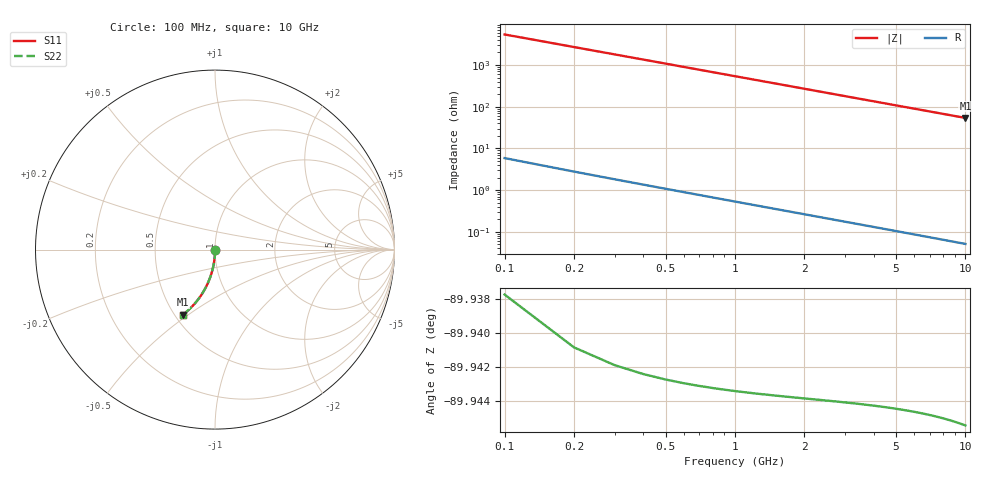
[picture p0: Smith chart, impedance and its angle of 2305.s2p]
# Hz S RI R 50.00
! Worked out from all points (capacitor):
!   100 points, 100 MHz to 10 GHz, reference 50 ohm
!   read as one part in shunt: C = 295 fF near 100 MHz
!   lowest |Z| = 54 ohm at 10 GHz (marker M1)
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1e8  3.91e-05 -0.00443  0.9999 -0.00483  0.9999 -0.00483  3.91e-05 -0.00443
2e8  -2.91e-05 -0.00885  0.9998 -0.00966  0.9998 -0.00966  -2.91e-05 -0.00885
3e8  -0.00014 -0.0133  0.9997 -0.0145  0.9997 -0.0145  -0.00014 -0.0133
4e8  -0.000294 -0.0177  0.9996 -0.0193  0.9996 -0.0193  -0.000294 -0.0177
5e8  -0.00049 -0.0221  0.9994 -0.0241  0.9994 -0.0241  -0.00049 -0.0221
6e8  -0.00073 -0.0265  0.9991 -0.029  0.9991 -0.029  -0.00073 -0.0265
7e8  -0.00101 -0.0309  0.9989 -0.0338  0.9989 -0.0338  -0.00101 -0.0309
8e8  -0.00134 -0.0354  0.9985 -0.0386  0.9985 -0.0386  -0.00134 -0.0354
9e8  -0.0017 -0.0398  0.9982 -0.0434  0.9982 -0.0434  -0.0017 -0.0398
1.1e9  -0.00256 -0.0486  0.9973 -0.053  0.9973 -0.053  -0.00256 -0.0486
1.4e9  -0.00417 -0.0617  0.9957 -0.0674  0.9957 -0.0674  -0.00417 -0.0617
1.8e9  -0.0069 -0.0791  0.9929 -0.0864  0.9929 -0.0864  -0.0069 -0.0791
2.1e9  -0.00938 -0.0921  0.9904 -0.1006  0.9904 -0.1006  -0.00938 -0.0921
2.5e9  -0.0133 -0.1092  0.9866 -0.1193  0.9866 -0.1193  -0.0133 -0.1092
2.9e9  -0.0178 -0.1261  0.982 -0.1379  0.982 -0.1379  -0.0178 -0.1261
3.4e9  -0.0243 -0.1469  0.9755 -0.1607  0.9755 -0.1607  -0.0243 -0.1469
4.2e9  -0.0366 -0.1792  0.9631 -0.1962  0.9631 -0.1962  -0.0366 -0.1792
5.1e9  -0.0532 -0.2139  0.9465 -0.2346  0.9465 -0.2346  -0.0532 -0.2139
5.9e9  -0.07 -0.243  0.9296 -0.267  0.9296 -0.267  -0.07 -0.243
6.7e9  -0.0886 -0.2704  0.9109 -0.2976  0.9109 -0.2976  -0.0886 -0.2704
8.4e9  -0.1329 -0.3222  0.8664 -0.3565  0.8664 -0.3565  -0.1329 -0.3222
1e10  -0.179 -0.3627  0.82 -0.4038  0.82 -0.4038  -0.179 -0.3627
